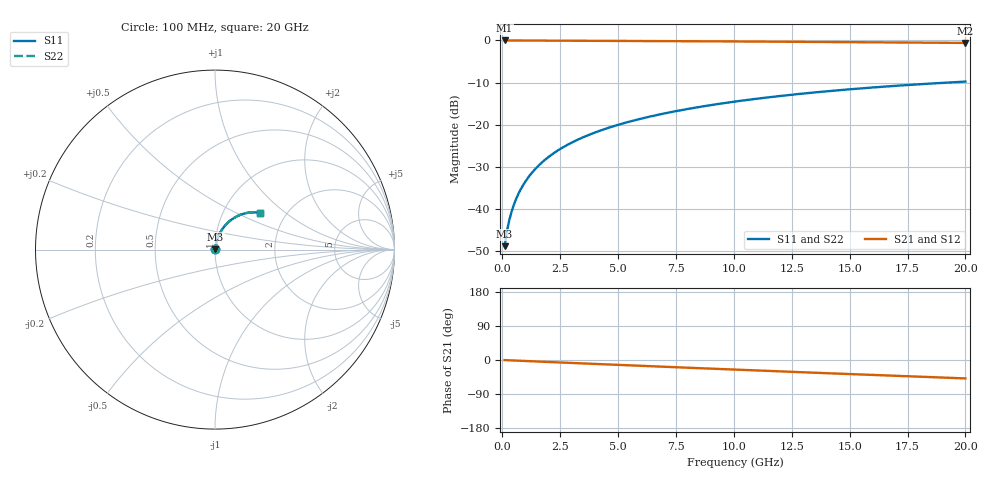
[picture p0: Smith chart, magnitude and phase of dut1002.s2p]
! Touchstone file exported from HFSS 2026.1.0
!  File:  C:/ffzhzh/LocalFiles/Ansys_Project_Files/temp_train_BSMRDL_1002_1783173129_18472.aedt
!  Generated:  09:53:28 PM Jul  4, 2026
!  Design:  BSMRDL
!  Project:  temp_train_BSMRDL_1002_1783173129_18472
! Variables:
!  h_bsmrdl = 4.94um
!  h_ox = 20um
!  h_rdl = 5um
!  h_sub = 80um
!  h_tmrdl = 5um
!  h_tsv = 80um
!  h_via = 3um
!  l_bsmrdl = 793.93um
!  l_sub = 1193.93um
!  l_tmrdl = 200um
!  m_sub = 200um
!  pitch = 40.17um
!  r_tsv = 6um
!  s_tmrdl = 10um
!  w_bsmrdl = 22.32um
!  w_sub = 500um
!  w_tmrdl = 12um
!  x_tsv_center1 = 206um
!  x_tsv_center2 = 1022.25um
!  x_tsv_center3 = 1234.25um
!  x_tsv_center4 = 2050.5um
!  x_tsv_center5 = 2262.5um
!  x_tsv_center6 = 3078.75um
# GHz S MA R 50.000000
! Terminal data exported
! Port[1] = BSM_RDL1_1_T1
! Port[2] = BSM_RDL1_1_T2
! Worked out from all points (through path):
!   200 points, 100 MHz to 20 GHz, reference 50 ohm
!   highest |S21| = -0.02 dB at 100 MHz (marker M1); lowest = -0.6 dB at 20 GHz (marker M2)
!   group delay of S21, straight-line fit = 6.74 ps
!   lowest |S11| = -48.8 dB at 100 MHz (marker M3), VSWR 1.01, Z = 50.3 + j0.239 ohm
!   |S11| at or under -10 dB: start of sweep to 19.24 GHz
!   |S22| runs from -48.8 to -9.8 dB; largest |S21 - S12| = 1.5e-14
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0.1  0.003645 40.7  0.9972 -0.3  0.9972 -0.3  0.003645 40.7
! Gamma 0 0 0 0
! Port Impedance 50 0 50 0
0.2  0.005477 56.5  0.997 -0.5  0.997 -0.5  0.005477 56.5
0.3  0.007389 63.8  0.9968 -0.8  0.9968 -0.8  0.007389 63.8
0.4  0.009321 68.2  0.9967 -1.1  0.9967 -1.1  0.009321 68.2
0.5  0.01128 71.2  0.9966 -1.3  0.9966 -1.3  0.01128 71.2
0.6  0.01326 73.3  0.9965 -1.6  0.9965 -1.6  0.01326 73.3
0.8  0.01726 75.9  0.9963 -2.1  0.9963 -2.1  0.01726 75.9
1.1  0.02334 77.9  0.996 -2.9  0.996 -2.9  0.02334 77.9
1.3  0.02741 78.4  0.9958 -3.4  0.9958 -3.4  0.02741 78.4
1.6  0.0335 78.8  0.9954 -4.2  0.9954 -4.2  0.0335 78.8
2.1  0.04361 78.6  0.9946 -5.5  0.9946 -5.5  0.04361 78.6
2.7  0.05559 77.7  0.9934 -7.0  0.9934 -7.0  0.05559 77.7
3.5  0.07128 76.2  0.9916 -9.1  0.9916 -9.1  0.07128 76.2
4.2  0.08473 74.7  0.9899 -10.9  0.9899 -10.9  0.08473 74.7
5  0.0998 72.9  0.9877 -12.9  0.9877 -12.9  0.09981 72.9
5.9  0.1164 70.9  0.9852 -15.1  0.9852 -15.1  0.1164 70.9
6.8  0.1326 68.9  0.9825 -17.4  0.9825 -17.4  0.1326 68.9
8.3  0.1589 65.4  0.9776 -21.1  0.9776 -21.1  0.1589 65.5
10.1  0.1891 61.3  0.9714 -25.5  0.9714 -25.5  0.1891 61.3
13.4  0.2403 53.8  0.9589 -33.4  0.9589 -33.4  0.2403 53.9
16.7  0.2856 46.4  0.9456 -41.1  0.9456 -41.1  0.2857 46.5
20  0.3246 39.2  0.9325 -48.6  0.9325 -48.6  0.3247 39.2
